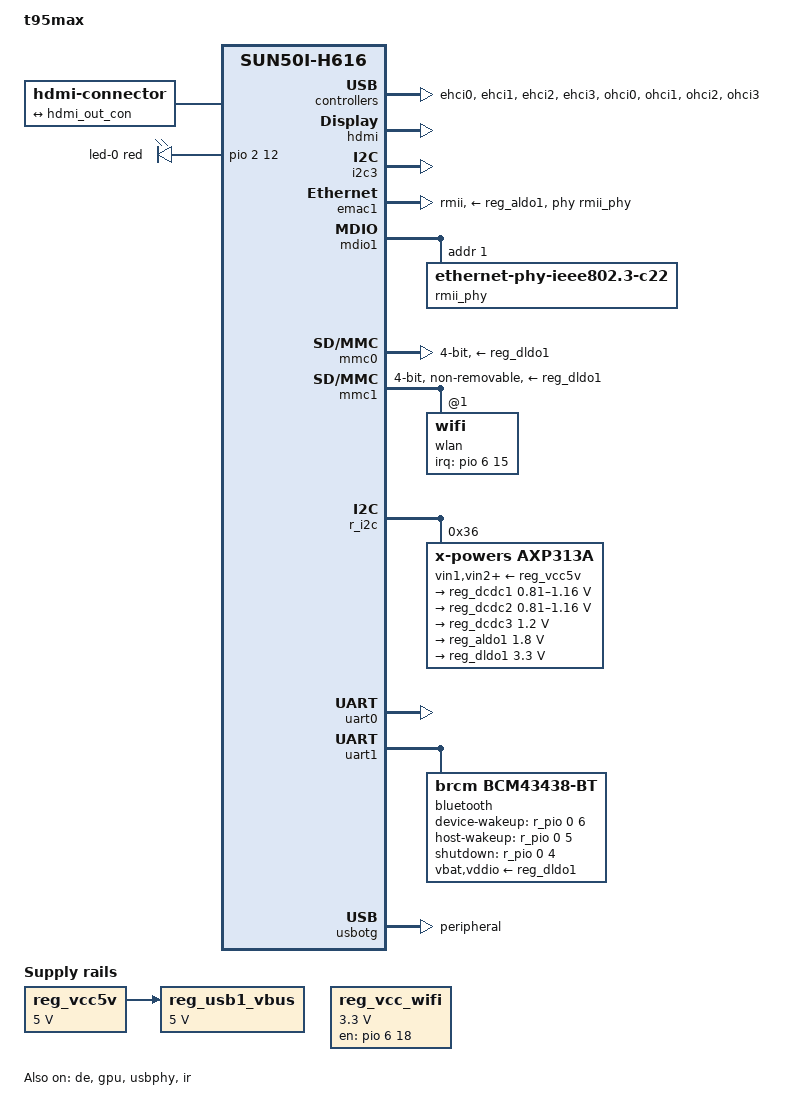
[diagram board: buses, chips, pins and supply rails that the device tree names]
// SPDX-License-Identifier: (GPL-2.0+ or MIT)
/*
 * Author: piotr.oniszczuk@gmail.com
 */

/dts-v1/;

#include "sun50i-h616.dtsi"

#include <dt-bindings/gpio/gpio.h>
#include <dt-bindings/interrupt-controller/arm-gic.h>
#include <dt-bindings/leds/common.h>
#include "sun50i-h616-cpu-opp.dtsi"

/ {
	model = "t95max";
	compatible = "tanix,t95max", "allwinner,sun50i-h616";

	aliases {
		mmc0 = &mmc0;
		mmc2 = &mmc2;
		ethernet0 = &emac1;
		serial0 = &uart0;
		ethernet1 = &wlan;
	};

	chosen {
		stdout-path = "serial0:115200n8";
	};

	connector {
		compatible = "hdmi-connector";
		type = "d";

		port {
			hdmi_con_in: endpoint {
				remote-endpoint = <&hdmi_out_con>;
			};
		};
	};

	leds {
		compatible = "gpio-leds";

		led-0 {
			function = LED_FUNCTION_POWER;
			color = <LED_COLOR_ID_RED>;
			gpios = <&pio 2 12 GPIO_ACTIVE_HIGH>; /* PC12 */
			default-state = "on";
		};
	};

	reg_vcc5v: vcc5v {
		/* board wide 5V supply directly from the USB-C socket */
		compatible = "regulator-fixed";
		regulator-name = "vcc-5v";
		regulator-min-microvolt = <5000000>;
		regulator-max-microvolt = <5000000>;
		regulator-always-on;
	};

	reg_usb1_vbus: usb1-vbus {
		compatible = "regulator-fixed";
		regulator-name = "usb1-vbus";
		regulator-min-microvolt = <5000000>;
		regulator-max-microvolt = <5000000>;
		vin-supply = <&reg_vcc5v>;
		enable-active-high;
		/* gpio = <&pio 2 16 GPIO_ACTIVE_HIGH>; PC16 */
		status = "okay";
	};

	reg_vcc_wifi: reg_vcc_wifi {
		compatible = "regulator-fixed";
		regulator-name = "vcc-wifi";
		regulator-min-microvolt = <3300000>;
		regulator-max-microvolt = <3300000>;
		gpio = <&pio 6 18 GPIO_ACTIVE_HIGH>; /* PG18 WL_REG_ON */
		regulator-always-on;
		enable-active-high;
		status = "okay";
	};

	wifi_pwrseq: wifi_pwrseq {
		compatible = "mmc-pwrseq-simple";
		post-power-on-delay-ms = <200>;
	};
};

&cpu0 {
	cpu-supply = <&reg_dcdc2>;
	status = "okay";
};

&de {
	status = "okay";
};

&ehci0 {
	status = "okay";
};

&ehci1 {
	status = "okay";
};

&ehci2 {
	status = "okay";
};

&ehci3 {
	status = "okay";
};

&hdmi {
	hvcc-supply = <&reg_aldo1>;
	status = "okay";
};

&hdmi_out {
	hdmi_out_con: endpoint {
		remote-endpoint = <&hdmi_con_in>;
	};
};

&gpu {
	mali-supply = <&reg_dcdc1>;
	status = "okay";
};

&i2c3 {
	status = "okay";
};

&emac1 {
	pinctrl-names = "default";
	pinctrl-0 = <&rmii_pins>;
	phy-mode = "rmii";
	phy-handle = <&rmii_phy>;
	phy-supply = <&reg_aldo1>;
	allwinner,rx-delay-ps = <3100>;
	allwinner,tx-delay-ps = <700>;
	status = "okay";
};

&mdio1 {
	rmii_phy: ethernet-phy@1 {
		compatible = "ethernet-phy-ieee802.3-c22";
		reg = <1>;
	};
};

&mmc0 {
	vmmc-supply = <&reg_dldo1>;
//	cd-gpios = <&pio 8 16 GPIO_ACTIVE_LOW>;	/* PI16 */
	broken-cd;
	bus-width = <4>;
	status = "okay";
};

&mmc1 {
	vmmc-supply = <&reg_dldo1>;
	vqmmc-supply = <&reg_vcc_wifi>;
	mmc-pwrseq = <&wifi_pwrseq>;
	bus-width = <4>;
	non-removable;
	status = "okay";

	wlan: wifi@1 {
		reg = <1>;
//		compatible = "xradio,xr819",
//			     "brcm,bcm4329-fmac";
		interrupt-parent = <&pio>;
		interrupts = <6 15 IRQ_TYPE_EDGE_RISING>; /* PG15 WL_HOSTWAKE*/
		interrupt-names = "host-wake";
		local-mac-address = [dc 44 6d c0 ff 02];
	};
};

&mmc2 {
	vmmc-supply = <&reg_dldo1>;
	bus-width = <8>;
	non-removable;
	cap-mmc-hw-reset;
	status = "disabled";
};

&ohci0 {
	status = "okay";
};

&ohci1 {
	status = "okay";
};

&ohci2 {
	status = "okay";
};

&ohci3 {
	status = "okay";
};

&r_i2c {
	status = "okay";

	axp313a: pmic@36 {
		compatible = "x-powers,axp313a";
		reg = <0x36>;
		wakeup-source;
		vin1-supply = <&reg_vcc5v>;
		vin2-supply = <&reg_vcc5v>;
		vin3-supply = <&reg_vcc5v>;
 
 		regulators {
			reg_dcdc1: dcdc1 {
 				regulator-always-on;
				regulator-min-microvolt = <810000>;
				regulator-max-microvolt = <1160000>;
				regulator-name = "vdd-gpu";
 			};
 
			reg_dcdc2: dcdc2 {
 				regulator-always-on;
 				regulator-min-microvolt = <810000>;
 				regulator-max-microvolt = <1160000>;
 				regulator-name = "vdd-cpu";
 			};
 
			reg_dcdc3: dcdc3 {
 				regulator-always-on;
				regulator-min-microvolt = <1200000>;
				regulator-max-microvolt = <1200000>;
				regulator-name = "vdd-dram";
 			};
 
			reg_aldo1: aldo1 {
 				regulator-always-on;
				regulator-min-microvolt = <1800000>;
				regulator-max-microvolt = <1800000>;
				regulator-name = "vcc1v8";
 			};
 
			reg_dldo1: dldo1 {
 				regulator-always-on;
 				regulator-min-microvolt = <3300000>;
 				regulator-max-microvolt = <3300000>;
				regulator-name = "vcc3v3";
 			};
 		};
 	};
};

&uart0 {
	pinctrl-names = "default";
	pinctrl-0 = <&uart0_ph_pins>;
	status = "okay";
};

&uart1 {
	pinctrl-names = "default";
	pinctrl-0 = <&uart1_pins>, <&uart1_rts_cts_pins>;
	uart-has-rtscts;
	status = "okay";

	bluetooth {
		compatible = "brcm,bcm43438-bt";
		clocks = <&rtc 1>;
		clock-names = "lpo";
		vbat-supply = <&reg_dldo1>;
		vddio-supply = <&reg_dldo1>;
		device-wakeup-gpios = <&r_pio 0 6 GPIO_ACTIVE_HIGH>; /* PL6 */
		host-wakeup-gpios = <&r_pio 0 5 GPIO_ACTIVE_HIGH>; /* PL5 */
		shutdown-gpios = <&r_pio 0 4 GPIO_ACTIVE_HIGH>; /* PL4 */
	};
};

&usbotg {
	dr_mode = "peripheral";
	status = "okay";
};

&usbphy {
	usb1_vbus-supply = <&reg_usb1_vbus>;
	status = "okay";
};

&ir {
	linux,rc-map-name = "rc-beelink-gs1";
	status = "okay";
};

/* adjust opp table for the bin 1 h616 a bit so that it still runs stable */
&cpu_opp_table {
	opp-480000000 {
		clock-latency-ns = <488288>; /* 8 32k periods */
		opp-hz = /bits/ 64 <480000000>;
		opp-microvolt = <900000 900000 900000>;
		status = "okay";
	};

	opp-600000000 {
		clock-latency-ns = <488288>; /* 8 32k periods */
		opp-hz = /bits/ 64 <600000000>;
		opp-microvolt = <900000 900000 900000>;
		status = "okay";
	};

	opp-792000000 {
		clock-latency-ns = <488288>; /* 8 32k periods */
		opp-hz = /bits/ 64 <792000000>;
		opp-microvolt = <900000 900000 900000>;
		status = "okay";
	};

	opp-1008000000 {
		clock-latency-ns = <488288>; /* 8 32k periods */
		opp-hz = /bits/ 64 <1008000000>;
		opp-microvolt = <920000 920000 920000>;
		status = "okay";
	};

	opp-1200000000 {
		clock-latency-ns = <488288>; /* 8 32k periods */
		opp-hz = /bits/ 64 <1200000000>;
		opp-microvolt = <980000 980000 980000>;
		status = "okay";
	};

	opp-1344000000 {
		clock-latency-ns = <488288>; /* 8 32k periods */
		opp-hz = /bits/ 64 <1344000000>;
		opp-microvolt = <1120000 1120000 1120000>;
		status = "okay";
	};

	opp-1416000000 {
		clock-latency-ns = <488288>; /* 8 32k periods */
		opp-hz = /bits/ 64 <1416000000>;
		opp-microvolt = <1150000 1150000 1150000>;
		status = "okay";
	};

	opp-1512000000 {
		clock-latency-ns = <488288>; /* 8 32k periods */
		opp-hz = /bits/ 64 <1512000000>;
		opp-microvolt = <1160000 1160000 1160000>;
		status = "disabled";
	};

	opp-1560000000 {
		clock-latency-ns = <488288>; /* 8 32k periods */
		opp-hz = /bits/ 64 <1560000000>;
		opp-microvolt = <1160000 1160000 1160000>;
		status = "disabled";
	};

	opp-1608000000 {
		clock-latency-ns = <488288>; /* 8 32k periods */
		opp-hz = /bits/ 64 <1608000000>;
		opp-microvolt = <1160000 1160000 1160000>;
		status = "disabled";
	};

	opp-1656000000 {
		clock-latency-ns = <488288>; /* 8 32k periods */
		opp-hz = /bits/ 64 <1656000000>;
		opp-microvolt = <1160000 1160000 1160000>;
		status = "disabled";
	};

	opp-1704000000 {
		clock-latency-ns = <488288>; /* 8 32k periods */
		opp-hz = /bits/ 64 <1704000000>;
		opp-microvolt = <1160000 1160000 1160000>;
		status = "disabled";
	};

	opp-1752000000 {
		clock-latency-ns = <488288>; /* 8 32k periods */
		opp-hz = /bits/ 64 <1752000000>;
		opp-microvolt = <1160000 1160000 1160000>;
		status = "disabled";
	};

	opp-1800000000 {
		clock-latency-ns = <488288>; /* 8 32k periods */
		opp-hz = /bits/ 64 <1800000000>;
		opp-microvolt = <1160000 1160000 1160000>;
		status = "disabled";
	};
};

&gpu_opp_table {
	compatible = "operating-points-v2";
	opp-125000000 {
		opp-hz = /bits/ 64 <125000000>;
		opp-microvolt = <860000>;
		status = "okay";
	};
	opp-250000000 {
		opp-hz = /bits/ 64 <250000000>;
		opp-microvolt = <860000>;
		status = "okay";
	};
	opp-432000000 {
		opp-hz = /bits/ 64 <432000000>;
		opp-microvolt = <860000>;
		status = "okay";
	};
	opp-600000000 {
		opp-hz = /bits/ 64 <600000000>;
		opp-microvolt = <1020000>;
		status = "okay";
	};
	opp-800000000 {
		opp-hz = /bits/ 64 <800000000>;
		opp-microvolt = <1080000>;
		status = "disabled";
	};
};
